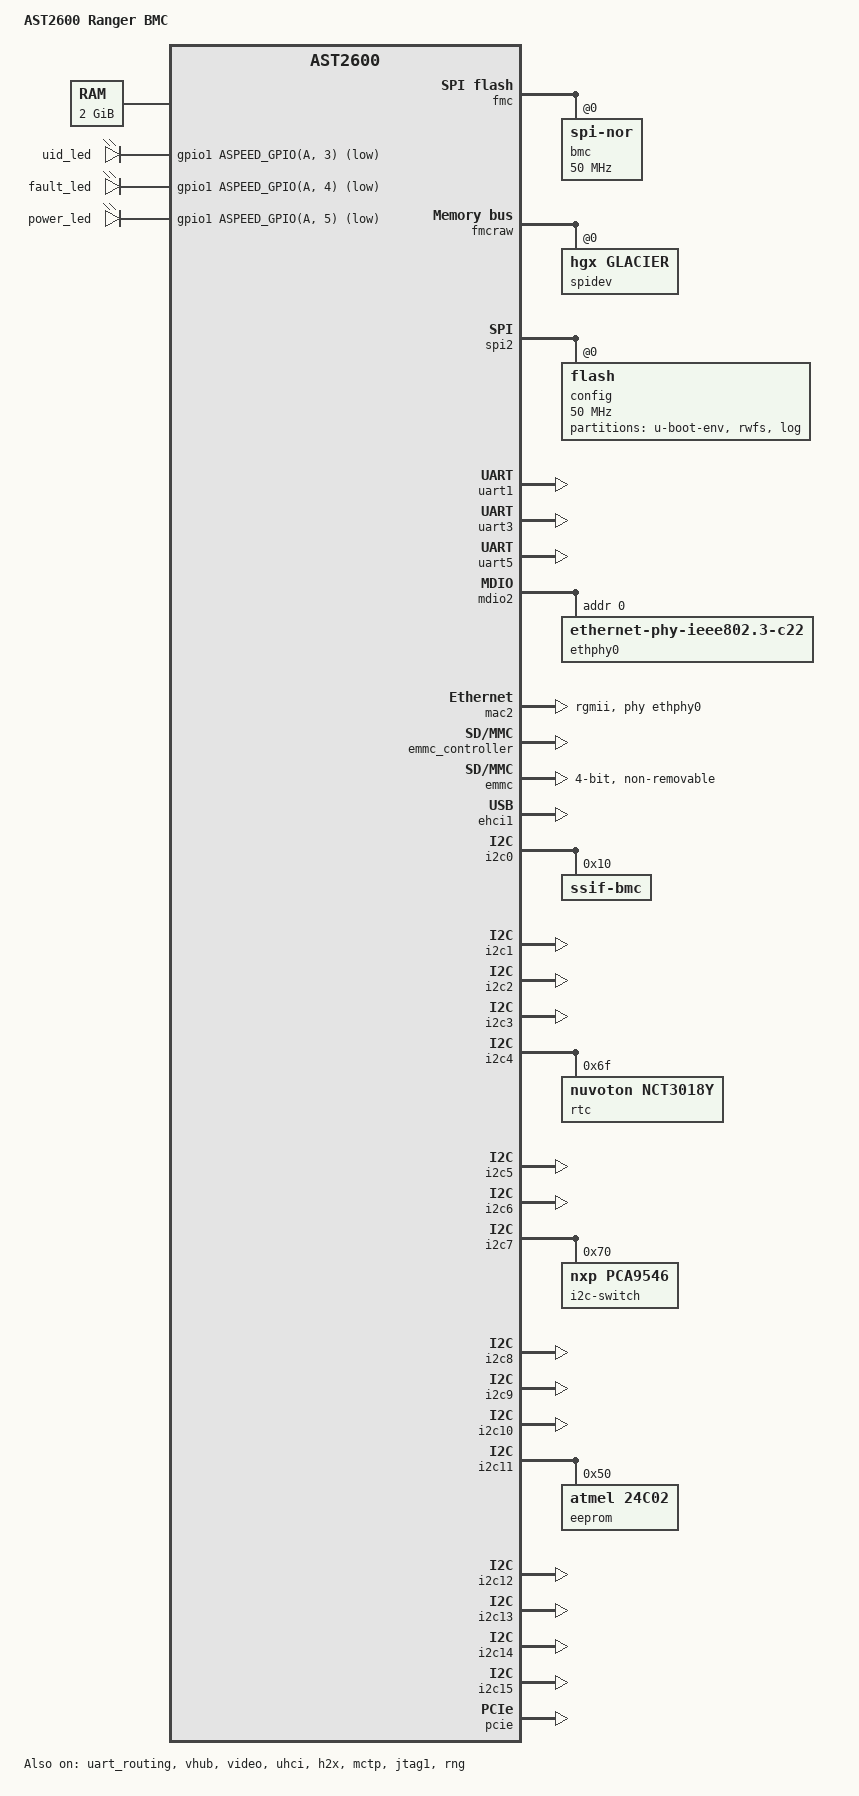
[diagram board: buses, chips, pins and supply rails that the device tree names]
// SPDX-License-Identifier: GPL-2.0+
/dts-v1/;

#include "nvidia-gh-bmc-core.dtsi"
#include <dt-bindings/leds/common.h>

/ {
    model = "AST2600 Ranger BMC";
    compatible = "aspeed,ast2600";

	aliases {
		serial2 = &uart3;
		serial4 = &uart5;
	};

	chosen {
		stdout-path = &uart5;
		bootargs = "console=tty0 console=ttyS4,115200n8 earlyprintk";
	};

	memory@80000000 {
		device_type = "memory";
		reg = <0x80000000 0x80000000>;
	};

    reserved-memory {
		#address-cells = <1>;
		#size-cells = <1>;
		ranges;

		vga_memory: framebuffer@9f000000 {
			no-map;
			reg = <0x9f000000 0x01000000>; /* 16M */
		};

		gfx_memory: framebuffer {
			size = <0x01000000>;
			alignment = <0x01000000>;
			compatible = "shared-dma-pool";
			reusable;
		};

		video_engine_memory: jpegbuffer {
			size = <0x02000000>;	/* 32M */
			alignment = <0x01000000>;
			compatible = "shared-dma-pool";
			reusable;
		};
	};

    power-gpios{
        n2-gpios = <&gpio0 ASPEED_GPIO(N, 2) (GPIO_ACTIVE_HIGH|GPIO_PULL_UP)>;
        n3-gpios = <&gpio0 ASPEED_GPIO(N, 3) (GPIO_ACTIVE_HIGH|GPIO_PULL_UP)>;
    };

	leds {
                compatible = "gpio-leds";
                uid_led {
                        gpios = <&gpio1 ASPEED_GPIO(A, 3) GPIO_ACTIVE_LOW>;
                };
                fault_led {
                        gpios = <&gpio1 ASPEED_GPIO(A, 4) GPIO_ACTIVE_LOW>;
                };
                power_led {
                        gpios = <&gpio1 ASPEED_GPIO(A, 5) GPIO_ACTIVE_LOW>;
                };
        };
};

// Enabled Primary flash on FMC for bring up activity
&fmc {
    status = "okay";
    flash@0 {
        status = "okay";
        compatible = "jedec,spi-nor";
        label = "bmc";
        spi-max-frequency = <50000000>;
#include "aspeed-bmc-nvidia-e4830-flash-layout-64.dtsi"
    };
};

&fmcraw {
    status = "okay";
    spidev@0 {
        compatible = "hgx,glacier";
        status = "okay";
    };
};

&spi2 {
    status = "okay";
    pinctrl-names = "default";
    pinctrl-0 = <&pinctrl_spi2_default>;

    // Data SPI is 64MB in size
    flash@0 {
        status = "okay";
        label = "config";
        spi-max-frequency = <50000000>;
        partitions {
            compatible = "fixed-partitions";
            #address-cells = <1>;
            #size-cells = <1>;

            u-boot-env@0 {
                reg = <0x0 0x40000>;            // 256KB at offset 0
                label = "u-boot-env";
            };

            rwfs@40000 {
                reg = <0x40000 0x1000000>;      // 16MB at offset 0x40000
                label = "rwfs";
            };

            log@0x1040000 {
                reg = <0x1040000 0x2800000>;    // 40MB at offset 0x1040000
                label = "log";                  // Move log to EMMC, make this unused
            };
        };
    };
};

&uart1 {
        status = "okay";        
};

&uart3 {
        //Enabling SOL
        status = "okay";
        
};

&uart5 {
    // BMC Debug Console
    status = "okay";
};

&uart_routing {
       status = "okay";
};

// MAC3 (per schematics, 1-based MAC1-MAC4) of AST2600 connected to external PHY
// This is "mac2" in zero-based DTS
&mdio2 {
    status = "okay";
    ethphy0: ethernet-phy@0 {
        compatible = "ethernet-phy-ieee802.3-c22";
        reg = <0>;
    };
};

&mac2 {
    status = "okay";
    pinctrl-names = "default";
    phy-mode = "rgmii";
    max-speed = <1000>;
    phy-handle = <&ethphy0>;
    pinctrl-0 = <&pinctrl_rgmii3_default>;
};

// Enable emmc
&emmc_controller {
    status = "okay";
};

&emmc {
    non-removable;
    bus-width = <4>;
    max-frequency = <52000000>;
};

/*
 * Enable port A as device (via the virtual hub) and port B as
 * host by default on the eval board. This can be easily changed
 * by replacing the override below with &ehci0 { ... } to enable
 * host on both ports.
 */
&vhub {
    status = "okay";
    pinctrl-names = "default"; 
    pinctrl-0 = <&pinctrl_usb2adp_default>;
};

&video {
	status = "okay";
	memory-region = <&video_engine_memory>;
};
// USB 2.0 to HMC & Host BMC connectivity
&ehci1 {
   status = "okay";
};

// USB 1.0
&uhci {
   status = "okay";
};

// I2C1, SSIF IPMI interface
&i2c0 {
    status = "okay";
    bus-frequency = <400000>;
    ssif-bmc@10 {
        compatible = "ssif-bmc";
        reg = <0x10>;
        };
};

// I2C2, BMC_I2C1_FPGA
&i2c1 {
    status = "okay";
    bus-frequency = <400000>;
};

// I2C3, BMC_I2C0_FPGA
&i2c2 {
    status = "okay";
    bus-frequency = <400000>;
};

// I2C4, BMC_I2C0_FPGA
&i2c3 {
    status = "okay";
    bus-frequency = <400000>;
};


//RTC Driver
&i2c4 {
    status = "okay";
    bus-frequency = <400000>;
    rtc@6f {
        compatible = "nuvoton,nct3018y";
        reg = <0x6f>;
        };
};


// I2C6, I2C_BMC_IOM_EXP
&i2c5 {
    status = "okay";
    bus-frequency = <400000>;
};

// I2C7, I2C_BMC_IOM_EXP
&i2c6 {
    status = "okay";
    bus-frequency = <400000>;
};

// I2C8, BMC_I2C_PCI
&i2c7 {
    status = "okay";
    bus-frequency = <400000>;
    i2c-switch@70 {
        compatible = "nxp,pca9546";
        reg = <0x70>;
    };
};

// I2C9
&i2c8 {
    status = "okay";
    bus-frequency = <400000>;
};

// I2C10
&i2c9 {
    status = "okay";
    bus-frequency = <400000>;
};

// I2C11
&i2c10 {
    status = "okay";
    bus-frequency = <400000>;
};

// I2C12, I2C12_BSDL
&i2c11 {
    status = "okay";

    // P4498 FRU EEPROM - 256 bytes
    eeprom@50 {
        compatible = "atmel,24c02";
        reg = <0x50>;
        pagesize = <8>;
    };

    // enable in entity-manager instead
    //lm75@48 {
    //    compatible = "ti,tmp75";
    //    reg = <0x48>;
    //};
};

// I2C13
&i2c12 {
    status = "okay";
    bus-frequency = <400000>;
};

// I2C14, BMC_I2C_HDR1
&i2c13 {
    status = "okay";
    bus-frequency = <400000>;
};

// I2C15, BMC_I2C_HDR2
&i2c14 {
    status = "okay";
    bus-frequency = <400000>;
};

// I2C16
&i2c15 {
    status = "okay";
    bus-frequency = <400000>;
};

// PCIe RC
&pcie {
    status = "okay";

    interrupts = <GIC_SPI 168 IRQ_TYPE_LEVEL_HIGH>;

    pcie_intc0: legacy-interrupt-controller {
                    interrupts = <GIC_SPI 168 IRQ_TYPE_EDGE_RISING>;
    };
};

// Bridge between AHB bus and PCIe RC.
&h2x {
    status = "okay";
};

&mctp {
    status = "okay";
};

&jtag1 {
    mux-gpios = <&gpio0 126 (GPIO_ACTIVE_HIGH | GPIO_PULL_UP)>;
    status = "okay";
};

&rng {
    status = "okay";
};

